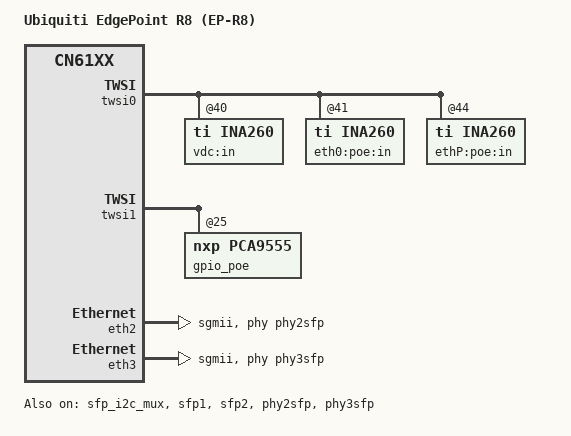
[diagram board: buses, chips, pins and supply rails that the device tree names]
// SPDX-License-Identifier: GPL-2.0-or-later OR MIT

#include "cn6120_ubnt_e20x.dtsi"

/ {
	/* E202 */
	compatible = "ubnt,ep-r8", "ubnt,e200", "cavium,cn61xx";
	model = "Ubiquiti EdgePoint R8 (EP-R8)";
};

&gpios {
	eth1-poe-54v-4pair {
		gpio-export,name = "eth1:poe:54v_4pair";
		gpio-export,output = <0>;
		gpios = <&gpio_poe 1 GPIO_ACTIVE_HIGH>;
	};

	eth1-poe-24v-4pair {
		gpio-export,name = "eth1:poe:24v_4pair";
		gpio-export,output = <0>;
		gpios = <&gpio_poe 14 GPIO_ACTIVE_HIGH>;
	};

	eth2-poe-54v-4pair {
		gpio-export,name = "eth2:poe:54v_4pair";
		gpio-export,output = <0>;
		gpios = <&gpio_poe 2 GPIO_ACTIVE_HIGH>;
	};

	eth2-poe-24v-4pair {
		gpio-export,name = "eth2:poe:24v_4pair";
		gpio-export,output = <0>;
		gpios = <&gpio_poe 15 GPIO_ACTIVE_HIGH>;
	};

	eth3-poe-24v {
		gpio-export,name = "eth3:poe:24v";
		gpio-export,output = <0>;
		gpios = <&gpio_poe 3 GPIO_ACTIVE_HIGH>;
	};

	eth4-poe-24v {
		gpio-export,name = "eth4:poe:24v";
		gpio-export,output = <0>;
		gpios = <&gpio_poe 4 GPIO_ACTIVE_HIGH>;
	};

	eth5-poe-24v {
		gpio-export,name = "eth5:poe:24v";
		gpio-export,output = <0>;
		gpios = <&gpio_poe 5 GPIO_ACTIVE_HIGH>;
	};

	eth6-poe-24v {
		gpio-export,name = "eth6:poe:24v";
		gpio-export,output = <0>;
		gpios = <&gpio_poe 6 GPIO_ACTIVE_HIGH>;
	};

	eth7-poe-24v {
		gpio-export,name = "eth7:poe:24v";
		gpio-export,output = <0>;
		gpios = <&gpio_poe 7 GPIO_ACTIVE_HIGH>;
	};
};

&twsi0 {
	power-sensor@40 {
		compatible = "ti,ina260";
		reg = <0x40>;
		label = "vdc:in";
	};

	power-sensor@41 {
		compatible = "ti,ina260";
		reg = <0x41>;
		label = "eth0:poe:in";
	};

	/* PoE-only ethernet port */
	power-sensor@44 {
		compatible = "ti,ina260";
		reg = <0x44>;
		label = "ethP:poe:in";
	};
};

&twsi1 {
	gpio_poe: pca9555@25 {
		compatible = "nxp,pca9555";
		reg = <0x25>;
		gpio-controller;
		#gpio-cells = <2>;
	};
};

&sfp_i2c_mux {
	status = "okay";
};

&sfp1 {
	status = "okay";
};

&sfp2 {
	status = "okay";
};

&phy2sfp {
	status = "okay";
};

&phy3sfp {
	status = "okay";
};

&eth2 {
	phy-mode = "sgmii";
	phy-handle = <&phy2sfp>;
};

&eth3 {
	phy-mode = "sgmii";
	phy-handle = <&phy3sfp>;
};
